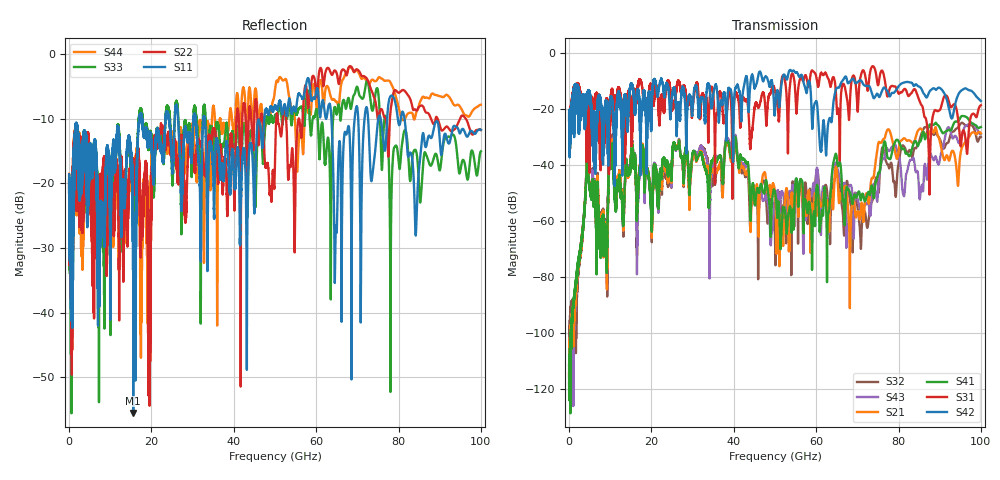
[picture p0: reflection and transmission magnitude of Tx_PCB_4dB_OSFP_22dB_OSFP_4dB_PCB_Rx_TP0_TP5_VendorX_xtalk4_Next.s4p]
! Info: Touchstone file created by Circ.  Input file=Tx_PCB_4dB_OSFP_22dB_OSFP_4dB_PCB_Rx_TP0_TP5_VendorX.circ
# Hz S RI R 50
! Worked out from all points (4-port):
!   10000 points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, 10 MHz to 100 GHz, reference 50 ohm
!   strongest paths, dB at 10 MHz, 25.01 GHz, 50.01 GHz, 75.01 GHz, 100 GHz:
!     S42: -24.1, -16.0, -20.7, -14.9, -17.2
!     S31: -24.0, -19.5, -13.4, -11.6, -18.7
!     S41: -117.8, -38.3, -49.5, -43.2, -26.4
!     S21: -114.2, -38.8, -49.9, -32.9, -28.7
!     S43: -114.7, -38.7, -52.0, -49.4, -29.0
!     S32: -111.3, -39.0, -65.9, -47.0, -30.0
!   lowest |S11| = -55.6 dB at 15.58 GHz (marker M1), VSWR 1.00, Z = 49.9 + j0.126 ohm
!   |S11| at or under -10 dB: start of sweep to 17.03 GHz; 32.92 GHz to 47.41 GHz (14.49 GHz wide, 36.1 % of centre); 81.46 GHz to end of sweep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
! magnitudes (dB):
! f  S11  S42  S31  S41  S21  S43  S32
! 10 MHz  -20.7  -24.1  -24.0  -117.8  -114.2  -114.7  -111.3
! 4.48 GHz  -26.0  -17.4  -24.5  -36.9  -36.7  -36.7  -36.5
! 8.83 GHz  -19.8  -17.8  -19.2  -66.7  -64.1  -64.5  -61.8
! 10.19 GHz  -23.4  -16.8  -16.8  -38.7  -37.3  -37.2  -35.9
! 15.58 GHz  -55.6  -14.0  -16.6  -37.4  -37.0  -36.6  -36.1
! 70.88 GHz  -32.8  -9.8  -7.9  -52.5  -54.9  -58.8  -69.7
! 100 GHz  -11.7  -17.2  -18.7  -26.4  -28.7  -29.0  -30.0
